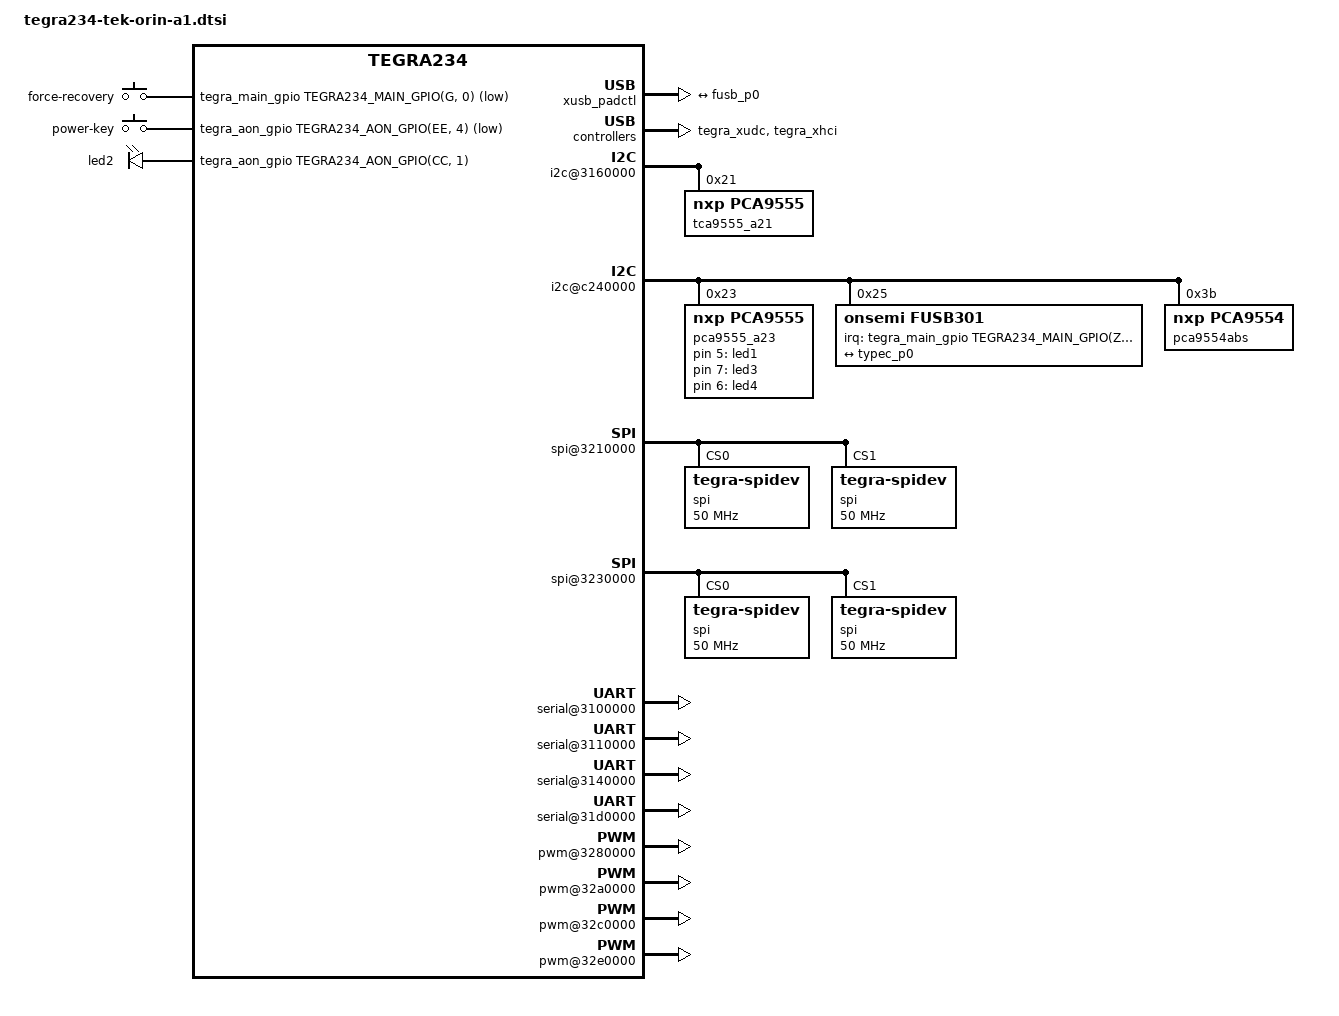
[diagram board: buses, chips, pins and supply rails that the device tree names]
/*
 * Copyright (c) 2022, NVIDIA CORPORATION.  All rights reserved.
 *
 * This program is free software; you can redistribute it and/or modify
 * it under the terms of the GNU General Public License as published by
 * the Free Software Foundation; version 2 of the License.
 *
 * This program is distributed in the hope that it will be useful, but WITHOUT
 * ANY WARRANTY; without even the implied warranty of MERCHANTABILITY or
 * FITNESS FOR A PARTICULAR PURPOSE.  See the GNU General Public License for
 * more details.
 */
#include <dt-bindings/gpio/tegra234-gpio.h>
#include "dt-bindings/input/input.h"
#include "tegra234-p3768-0000-a0-pwm-fan.dtsi"
#include "tegra234-p3768-0000-a0-pcie.dtsi"
#include "tegra234-p3768-0000-a0-fixed-regulator.dtsi"
#include "tegra234-p3768-audio.dtsi"
//#include "tegra234-p3768-camera-rbpcv3-imx477.dtsi"
//#include "tegra234-p3768-camera-rbpcv2-imx219.dtsi"
// #include "tegra234-tek-orin-camera-tevi-ap1302.dtsi"
#include "tegra234-tek-orin-camera-vizionlink-tevi-ar0144.dtsi"

/ {
	gpio-keys {
		compatible = "gpio-keys";
		gpio-keys,name = "gpio-keys";
		status = "okay";

		forcerecovery {
			label = "force-recovery";
			gpios = <&tegra_main_gpio TEGRA234_MAIN_GPIO(G, 0) GPIO_ACTIVE_LOW>;
			linux,code = <BTN_1>;
		};

		power_key {
			label = "power-key";
			gpios = <&tegra_aon_gpio TEGRA234_AON_GPIO(EE, 4) GPIO_ACTIVE_LOW>;
			linux,code = <KEY_POWER>;
			gpio-key,wakeup;
		};
	};

	eeprom-manager {
		data-size = <0x100>;
		bus@0 {
			i2c-bus = <&gen1_i2c>;
			eeprom@1 {
				slave-address = <0x57>;
				label = "cvb";
			};
		};

		bus@1 {
			i2c-bus = <&gen2_i2c>;
			eeprom@1 {
				slave-address = <0x50>;
				label = "super-module";
			};
		};
	};

	xusb_padctl: xusb_padctl@3520000 {
		status = "okay";
		pads {
			usb2 {
				lanes {
					usb2-0 {
						nvidia,function = "xusb";
						status = "okay";
					};
					usb2-1 {
						nvidia,function = "xusb";
						status = "okay";
					};
					usb2-2 {
						nvidia,function = "xusb";
						status = "okay";
					};
				};
			};
			usb3 {
				lanes {
					usb3-0 {
						nvidia,function = "xusb";
						status = "okay";
					};
					usb3-1 {
						nvidia,function = "xusb";
						status = "okay";
					};
				};
			};
		};

		ports {
			usb2-0 {/* Goes to recovery port */
				mode = "otg";
				status = "okay";
				vbus-supply = <&p3768_vdd_5v_sys>;
				usb-role-switch;
				port {
					typec_p0: endpoint {
						remote-endpoint = <&fusb_p0>;
					};
				};
			};
			usb2-1 {/* Goes to hub */
				mode = "host";
				vbus-supply = <&p3768_vdd_av10_hub>;
				status = "okay";
			};
			usb2-2 {/* Goes to M2.E */
				mode = "host";
				vbus-supply = <&p3768_vdd_5v_sys>;
				status = "okay";
			};
			usb3-0 {/* Goes to hub */
				nvidia,usb2-companion = <1>;
				status = "okay";
			};
			usb3-1 {/* Goes to J5 */
				nvidia,usb2-companion = <0>;
				status = "okay";
			};
		};
	};

	tegra_xudc: xudc@3550000 {
		status = "okay";
		phys = <&{/xusb_padctl@3520000/pads/usb2/lanes/usb2-0}>,
			<&{/xusb_padctl@3520000/pads/usb3/lanes/usb3-1}>;
		phy-names = "usb2-0", "usb3-1";
		nvidia,xusb-padctl = <&xusb_padctl>;
	};

	tegra_xhci: xhci@3610000 {
		status = "okay";
		phys = <&{/xusb_padctl@3520000/pads/usb2/lanes/usb2-0}>,
			<&{/xusb_padctl@3520000/pads/usb2/lanes/usb2-1}>,
			<&{/xusb_padctl@3520000/pads/usb2/lanes/usb2-2}>,
			<&{/xusb_padctl@3520000/pads/usb3/lanes/usb3-0}>,
			<&{/xusb_padctl@3520000/pads/usb3/lanes/usb3-1}>;
		phy-names = "usb2-0", "usb2-1", "usb2-2", "usb3-0", "usb3-1";
		nvidia,xusb-padctl = <&xusb_padctl>;
	};

	i2c@3160000 {
		tca9555_a21: tca9555@21 {
			compatible = "nxp,pca9555";
			reg = <0x21>;

//			interrupt-parent = <&tegra_aon_gpio>;
//			interrupts = <TEGRA234_AON_GPIO(CC, 2) IRQ_TYPE_LEVEL_LOW>;

			interrupt-controller;
			#interrupt-cells = <2>;

			gpio-controller;
			#gpio-cells = <2>;

			status = "okay";
			gpio-line-names = "CSI0_PWDN", "CSI0_PDB", "CSI0_RST_N", "INFO0_TRIG_IN",
						"CSI1_PWDN", "CSI1_PDB", "CSI1_RST_N", "INFO1_TRIG_IN",
						"", "", "", "",
						"", "", "", "";
		};
	};

	i2c@c240000{
		status = "okay";

		pca9555_a23: pca9555@23 {
			compatible = "nxp,pca9555";
			reg = <0x23>;

//			interrupt-parent = <&tegra_aon_gpio>;
//			interrupts = <TEGRA234_AON_GPIO(CC, 0) IRQ_TYPE_LEVEL_LOW>;

			interrupt-controller;
			#interrupt-cells = <2>;

			gpio-controller;
			#gpio-cells = <2>;

			status = "okay";
			gpio-line-names = "M2_DISABLE_N", "M2_RST_N", "LTE_WAKE", "W_DISABLE1_CTRL",
						"BT_M2_EN", "GPIO_LED1", "GPIO_LED4", "GPIO_LED3",
						"BTBC_GPIO_P20", "BTBC_GPIO_P21", "BTBC_GPIO_P22", "BTBC_GPIO_P23",
						"BTBC_GPIO_P24", "BTBP_GPIO_P18", "BTBP_GPIO_P19", "BTBP_GPIO_P20";

			KEY-B-enable {
				gpio-hog;
				gpios = <0 GPIO_ACTIVE_HIGH>;
				output-low;
			};
		};

		fusb301@25 {
			compatible = "onsemi,fusb301";
			reg = <0x25>;
			status = "okay";
			#address-cells = <1>;
			#size-cells = <0>;
			interrupt-parent = <&tegra_main_gpio>;
			interrupts = <TEGRA234_MAIN_GPIO(Z, 1) IRQ_TYPE_LEVEL_LOW>;
			connector@0 {
				port@0 {
					fusb_p0: endpoint {
						remote-endpoint = <&typec_p0>;
					};
				};
			};
		};

		pca9554abs: pca9554abs@3b {
			compatible = "nxp,pca9554";
			reg = <0x3b>;
//			interrupt-parent = <&pca9555_a23>;
//			interrupts = <&pca9555_a23 8 IRQ_TYPE_LEVEL_LOW>;

			interrupt-controller;
			#interrupt-cells = <2>;

			gpio-controller;
			#gpio-cells = <2>;

			status = "okay";
			gpio-line-names = "P_GPIO01", "P_GPIO02", "P_GPIO03", "P_GPIO04",
						"P_GPIO05", "P_GPIO06", "P_GPIO07", "P_GPIO08";
		};
	};

	gpio-leds1 {
		compatible = "gpio-leds";
		status = "okay";
		led1 {
			gpios = <&pca9555_a23 5 GPIO_ACTIVE_HIGH>;
			default-state = "off";
		};
	};

	gpio-leds2 {
		compatible = "gpio-leds";
		status = "okay";
		led2 {
			gpios = <&tegra_aon_gpio TEGRA234_AON_GPIO(CC, 1) GPIO_ACTIVE_HIGH>;
			default-state = "on";
		};
	};

	gpio-leds3 {
		compatible = "gpio-leds";
		status = "okay";
		led3 {
			gpios = <&pca9555_a23 7 GPIO_ACTIVE_HIGH>;
			default-state = "off";
		};
	};

	gpio-leds4 {
		compatible = "gpio-leds";
		status = "okay";
		led4 {
			gpios = <&pca9555_a23 6 GPIO_ACTIVE_HIGH>;
			default-state = "off";
		};
	};

	spi@3210000{ /* SPI1 in 40 pin conn */
		status = "okay";
		spi@0 { /* chip select 0 */
			compatible = "tegra-spidev";
			reg = <0x0>;
			spi-max-frequency = <50000000>;
			controller-data {
				nvidia,enable-hw-based-cs;
				nvidia,rx-clk-tap-delay = <0x10>;
				nvidia,tx-clk-tap-delay = <0x0>;
			};
		};
		spi@1 { /* chip select 1 */
			compatible = "tegra-spidev";
			reg = <0x1>;
			spi-max-frequency = <50000000>;
			controller-data {
				nvidia,enable-hw-based-cs;
				nvidia,rx-clk-tap-delay = <0x10>;
				nvidia,tx-clk-tap-delay = <0x0>;
			};
		};
	};

	spi@3230000{ /* SPI3 in 40 pin conn */
		status = "okay";
		spi@0 { /* chip select 0 */
			compatible = "tegra-spidev";
			reg = <0x0>;
			spi-max-frequency = <50000000>;
			controller-data {
				nvidia,enable-hw-based-cs;
				nvidia,rx-clk-tap-delay = <0x10>;
				nvidia,tx-clk-tap-delay = <0x0>;
			};
		};
		spi@1 { /* chips select 1 */
			compatible = "tegra-spidev";
			reg = <0x1>;
			spi-max-frequency = <50000000>;
			controller-data {
				nvidia,enable-hw-based-cs;
				nvidia,rx-clk-tap-delay = <0x10>;
				nvidia,tx-clk-tap-delay = <0x0>;
			};
		};
	};

	serial@3100000 {/* UARTA, for 40 pin header */
		status = "okay";
	};

	serial@3110000 {
		status = "okay";
	};

	mttcan@c310000 {
		status = "okay";
	};

	serial@3140000 {
		/* UARTE, Goes to M2.E and also some of the pins to bootstrap */
		status = "okay";
	};

	serial@31d0000 {/* UARTI - SBSA */
		status = "okay";
	};

	tachometer@39c0000 {
		status = "okay";
		upper-threshold = <0xfffff>;
		lower-threshold = <0x0>;
	};

	pwm@3280000 {/* PWM1 40pin header, pin 15 */
		status = "okay";
	};

	pwm@32a0000 {/* PWM3 - FAN */
		status = "okay";
	};

	pwm@c340000 { /* PWM4 - OVR */
		status = "disabled";
	};

	pwm@32c0000 {/* PWM5 40 pin header, pin 33 */
		status = "okay";
	};

	pwm@32d0000 {/* PWM6 OVR */
		status = "disabled";
	};

	pwm@32e0000 {/* PWM7 40 pin header, pin 32 */
		status = "okay";
	};

	pinmux@2430000 {
		pwm-pinmux {
			hdr40-pwm5 {
				nvidia,enable-input = <TEGRA_PIN_DISABLE>;
				nvidia,tristate = <TEGRA_PIN_DISABLE>;
				nvidia,function = "gp";
				nvidia,pins = "soc_gpio21_ph0";
			};

			hdr40-pwm7 {
				nvidia,enable-input = <TEGRA_PIN_DISABLE>;
				nvidia,tristate = <TEGRA_PIN_DISABLE>;
				nvidia,function = "gp";
				nvidia,pins = "soc_gpio19_pg6";
			};
		};
	};

	bluedroid_pm {
		status = "disabled";
	};

	display@13800000 {
		status = "okay";
	};

	tegra-capture-vi  {
		ports {
			port@0 {
				endpoint {
					port-index = <0>;
				};
			};
		};
	};

	host1x@13e00000 {
		nvcsi@15a00000 {
			csi_chan0 {
				ports {
					port@0 {
						endpoint@0 {
							port-index = <1>;
						};
					};
				};
			};
		};
	};
};
